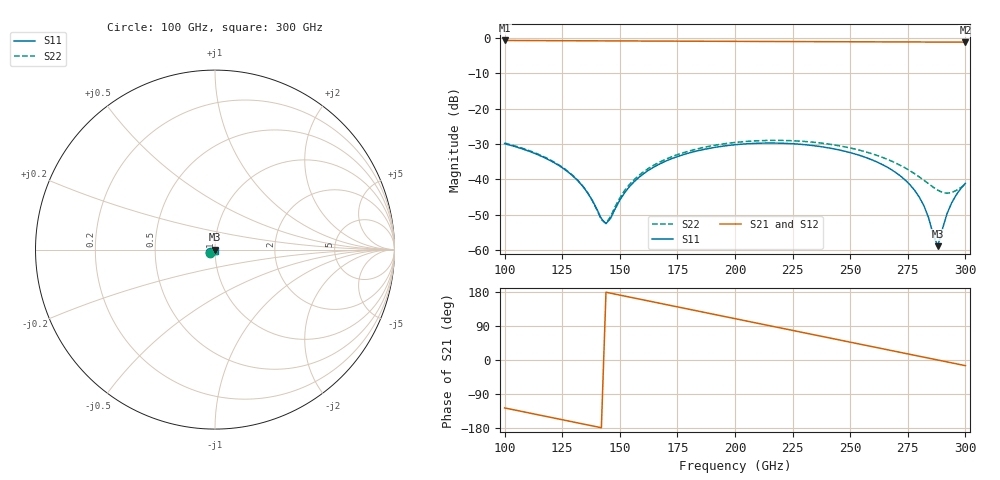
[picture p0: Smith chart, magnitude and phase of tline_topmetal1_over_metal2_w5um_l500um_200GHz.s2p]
#  GHZ S DB R 50
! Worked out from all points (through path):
!   101 points, 100 GHz to 300 GHz, reference 50 ohm
!   highest |S21| = -0.75 dB at 100 GHz (marker M1); lowest = -1.2 dB at 300 GHz (marker M2)
!   group delay of S21, straight-line fit = 3.45 ps
!   lowest |S11| = -58.8 dB at 288 GHz (marker M3), VSWR 1.00, Z = 49.9 - j0.0779 ohm
!   |S11| at or under -10 dB: start of sweep to end of sweep
!   |S22| runs from -52.4 to -29.0 dB; largest |S21 - S12| = 1.1e-14
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100  -29.91 -150.6  -0.75 -126.5  -0.75 -126.5  -29.73 -150.1
120  -34.74 -177.5  -0.81 -151.4  -0.81 -151.4  -34.56 -176.7
128  -38.13 174.3  -0.83 -161.3  -0.83 -161.3  -37.98 175.3
134  -41.99 171.9  -0.85 -168.8  -0.85 -168.8  -41.92 173.1
142  -51.07 -158.8  -0.87 -178.7  -0.87 -178.7  -51.34 -154.2
144  -52.49 -128.9  -0.87 178.8  -0.87 178.8  -52.43 -121.7
154  -42.18 -71.7  -0.90 166.3  -0.90 166.3  -41.59 -68.7
160  -38.53 -73.9  -0.91 158.9  -0.91 158.9  -37.98 -71.2
168  -35.41 -81.5  -0.93 148.9  -0.93 148.9  -34.87 -78.7
182  -32.20 -98.2  -0.96 131.5  -0.96 131.5  -31.63 -95.0
200  -30.20 -121.2  -1.01 109.1  -1.01 109.1  -29.56 -117.3
216  -29.73 -142.0  -1.05 89.3  -1.05 89.3  -28.97 -137.0
234  -30.45 -165.1  -1.09 66.9  -1.09 66.9  -29.49 -158.5
254  -33.19 169.8  -1.13 42.1  -1.13 42.1  -31.73 180.0
268  -37.28 153.6  -1.16 24.8  -1.16 24.8  -34.84 168.9
274  -40.24 147.8  -1.17 17.3  -1.17 17.3  -36.80 167.1
280  -45.01 145.1  -1.19 9.9  -1.19 9.9  -39.29 169.4
284  -50.76 151.3  -1.19 4.9  -1.19 4.9  -41.21 175.7
288  -58.84 -136.9  -1.20 -0.0  -1.20 -0.0  -43.03 -171.7
292  -49.72 -81.9  -1.21 -5.0  -1.21 -5.0  -43.90 -152.2
294  -46.68 -78.4  -1.21 -7.5  -1.21 -7.5  -43.70 -141.7
300  -41.09 -79.2  -1.23 -14.9  -1.23 -14.9  -41.33 -119.4
